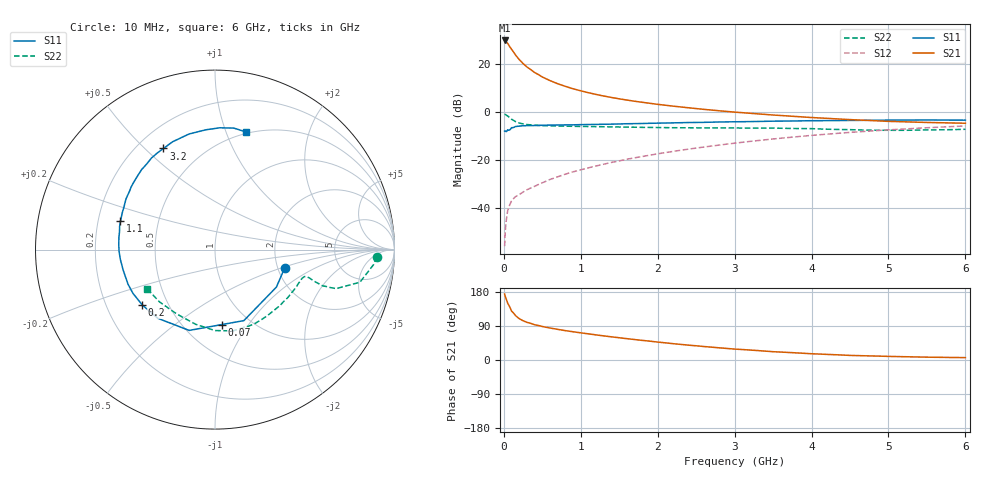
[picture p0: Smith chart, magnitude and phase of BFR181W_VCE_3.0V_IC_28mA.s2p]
! (c) 2017  Infineon Technologies AG, Munich
! Infineon Technologies  Discrete & RF Semiconductors
! BFR181W
! VCE =  3.0 V,  IC =  28 mA
! Common Emitter S-Parameters:  Jan 2017
# GHz  S  MA  R  50
!  f  S11  S21  S12  S22
! GHz  MAG  ANG  MAG  ANG  MAG  ANG  MAG  ANG
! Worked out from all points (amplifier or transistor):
!   77 points, 10 MHz to 6 GHz, reference 50 ohm
!   highest |S21| = 29.8 dB at 10 MHz (marker M1)
!   |S21| within 3 dB of that: start of sweep to 85.52 MHz
!   unconditionally stable (mu >= 1): start of sweep to 15.54 MHz; 262.9 MHz to 2.785 GHz; 5.65 GHz to end of sweep
!   at 130 MHz: K = 0.67, MSG = 30.4 dB, |S12| = -36.0 dB
!   at 2.2 GHz: K = 1.11, MAG = 7.4 dB, |S12| = -16.4 dB
!   at 6 GHz: K = 1.02, MAG = -0.3 dB, |S12| = -5.8 dB
!   S11 on the Smith chart (normalised r, x): 10 MHz: 2.18, -0.53; 70 MHz: 0.75, -0.76; 200 MHz: 0.36, -0.30; 1.1 GHz: 0.30, +0.13; 3.2 GHz: 0.30, +0.57; 6 GHz: 0.49, +1.18
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0.01  0.4014 -14.7  31.08 174.0  0.0016 76.1  0.9013 -2.5
0.02  0.4009 -31.4  30.52 166.8  0.0035 87.3  0.8883 -5.3
0.05  0.4271 -67.9  26.98 149.6  0.0088 66.5  0.8277 -12.7
0.07  0.4193 -84.7  24.01 142.8  0.0109 63.2  0.7794 -14.6
0.1  0.4726 -107.7  20.41 129.2  0.014 60.0  0.7088 -17.9
0.15  0.4981 -129.8  15.64 117.4  0.0172 57.5  0.6339 -18.6
0.2  0.5092 -142.7  12.43 109.2  0.019 56.2  0.5904 -17.9
0.25  0.518 -151.9  10.27 103.6  0.0215 58.1  0.5667 -17.3
0.3  0.5215 -158.3  8.704 99.4  0.024 60.9  0.5489 -16.7
0.4  0.5243 -167.4  6.677 93.1  0.0283 64.5  0.532 -16.4
0.5  0.5301 -174.1  5.386 88.4  0.0335 66.6  0.5223 -16.7
0.6  0.5348 -179.1  4.524 84.4  0.0393 70.1  0.516 -17.4
0.7  0.5371 176.7  3.898 80.9  0.0446 73.3  0.5111 -18.2
0.9  0.5411 169.5  3.057 74.5  0.0567 75.5  0.5047 -20.9
1.1  0.5497 163.3  2.53 69.0  0.0688 77.5  0.4991 -24.0
1.5  0.5644 152.9  1.886 58.7  0.0958 79.3  0.4878 -31.0
2.1  0.5905 138.9  1.387 45.3  0.1429 78.4  0.4734 -44.1
3.1  0.6293 119.0  0.97 27.6  0.2342 71.6  0.4642 -68.2
3.2  0.6324 117.0  0.943 26.3  0.2442 70.7  0.4629 -70.6
4.1  0.6609 100.9  0.754 15.7  0.3358 61.3  0.4447 -92.8
5.1  0.6796 86.5  0.633 9.1  0.4341 48.8  0.4161 -123.9
6  0.6776 75.2  0.584 6.2  0.5134 37.3  0.437 -150.1
